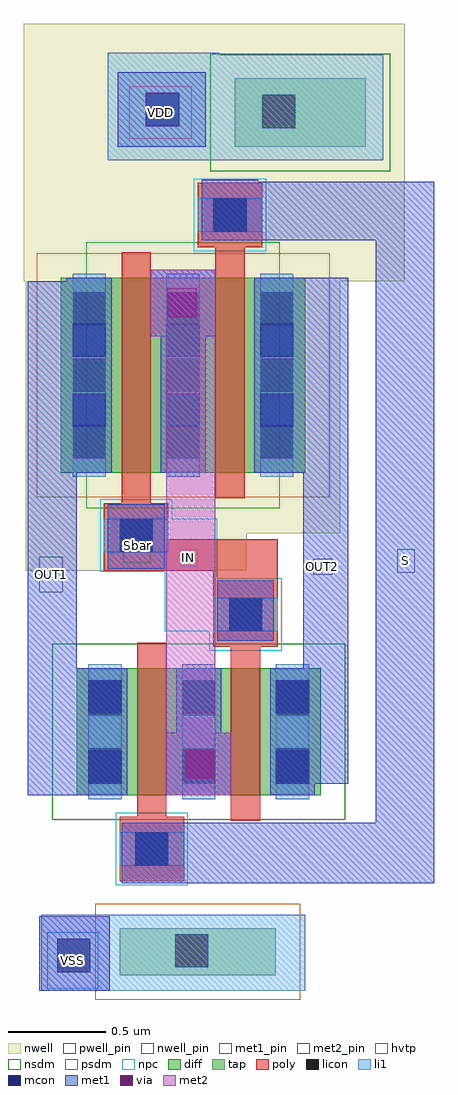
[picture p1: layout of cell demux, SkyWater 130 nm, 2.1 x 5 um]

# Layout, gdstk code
import gdstk
lib = gdstk.Library(unit=1e-6, precision=1e-09)
def R(c, l, rs):  # rectangles x0, y0, x1, y1
    for r in rs: c.add(gdstk.rectangle(r[:2], r[2:], *l))
def A(c, l, x, y, w, h, nx, ny, dx, dy):  # array of equal rectangles
    R(c, l, [(x+i*dx, y+j*dy, x+i*dx+w, y+j*dy+h) for i in range(nx) for j in range(ny)])
nwell_pin = (64, 16)
nwell = (64, 20)
diff = (65, 20)
tap = (65, 44)
poly = (66, 20)
licon = (66, 44)
li1 = (67, 20)
mcon = (67, 44)
met1_pin = (68, 16)
met1 = (68, 20)
via = (68, 44)
met2_pin = (69, 16)
met2 = (69, 20)
hvtp = (78, 44)
nsdm = (93, 44)
psdm = (94, 20)
npc = (95, 20)
pwell_pin = (122, 16)

sky130_fd_pr__pfet_01v8_ = lib.new_cell('sky130_fd_pr__pfet_01v8_hvt_SH6FHF')
R(sky130_fd_pr__pfet_01v8_, nwell, [(-0.805,-1,0.325,-0.81), (-0.805,-0.81,0.805,0.81), (-0.325,0.81,0.805,1)])
R(sky130_fd_pr__pfet_01v8_, diff, [(-0.625,-0.5,0.625,0.5)])
R(sky130_fd_pr__pfet_01v8_, poly, [(-0.405,-0.985,-0.075,-0.655), (-0.315,-0.655,-0.165,0.63), (0.165,-0.63,0.315,0.655), (0.075,0.655,0.405,0.985)])
A(sky130_fd_pr__pfet_01v8_, licon, -0.565, -0.425, 0.17, 0.17, 3, 3, 0.48, 0.34)
R(sky130_fd_pr__pfet_01v8_, licon, [(-0.325,-0.905,-0.155,-0.735), (0.155,0.735,0.325,0.905)])
A(sky130_fd_pr__pfet_01v8_, li1, -0.565, -0.52, 0.17, 1.04, 3, 1, 0.48, 0)
R(sky130_fd_pr__pfet_01v8_, li1, [(-0.405,-0.905,-0.075,-0.735), (0.075,0.735,0.405,0.905)])
A(sky130_fd_pr__pfet_01v8_, mcon, -0.565, -0.265, 0.17, 0.17, 3, 2, 0.48, 0.36)
R(sky130_fd_pr__pfet_01v8_, mcon, [(-0.325,-0.905,-0.155,-0.735), (0.155,0.735,0.325,0.905)])
A(sky130_fd_pr__pfet_01v8_, met1, -0.595, -0.5, 0.23, 1, 3, 1, 0.48, 0)
R(sky130_fd_pr__pfet_01v8_, met1, [(-0.385,-0.935,-0.095,-0.705), (0.095,0.705,0.385,0.935)])
R(sky130_fd_pr__pfet_01v8_, hvtp, [(-0.495,-0.68,0.495,0.68)])
R(sky130_fd_pr__pfet_01v8_, psdm, [(-0.75,-0.625,0.75,0.625)])
R(sky130_fd_pr__pfet_01v8_, npc, [(-0.425,-1.005,-0.055,-0.635), (0.055,0.635,0.425,1.005)])

sky130_fd_pr__nfet_01v8_ = lib.new_cell('sky130_fd_pr__nfet_01v8_PX9ZJG')
R(sky130_fd_pr__nfet_01v8_, diff, [(-0.625,-0.325,0.625,0.325)])
R(sky130_fd_pr__nfet_01v8_, poly, [(-0.405,-0.765,-0.075,-0.435), (0.165,-0.455,0.315,0.435), (-0.315,-0.435,-0.165,0.455), (0.075,0.435,0.405,0.765)])
A(sky130_fd_pr__nfet_01v8_, licon, -0.565, -0.255, 0.17, 0.17, 3, 2, 0.48, 0.34)
R(sky130_fd_pr__nfet_01v8_, licon, [(-0.325,-0.685,-0.155,-0.515), (0.155,0.515,0.325,0.685)])
A(sky130_fd_pr__nfet_01v8_, li1, -0.565, -0.345, 0.17, 0.69, 3, 1, 0.48, 0)
R(sky130_fd_pr__nfet_01v8_, li1, [(-0.405,-0.685,-0.075,-0.515), (0.075,0.515,0.405,0.685)])
A(sky130_fd_pr__nfet_01v8_, mcon, -0.565, -0.265, 0.17, 0.17, 3, 2, 0.48, 0.36)
R(sky130_fd_pr__nfet_01v8_, mcon, [(-0.325,-0.685,-0.155,-0.515), (0.155,0.515,0.325,0.685)])
A(sky130_fd_pr__nfet_01v8_, met1, -0.595, -0.325, 0.23, 0.65, 3, 1, 0.48, 0)
R(sky130_fd_pr__nfet_01v8_, met1, [(-0.385,-0.715,-0.095,-0.485), (0.095,0.485,0.385,0.715)])
R(sky130_fd_pr__nfet_01v8_, nsdm, [(-0.75,-0.45,0.75,0.45)])
R(sky130_fd_pr__nfet_01v8_, npc, [(-0.425,-0.785,-0.055,-0.415), (0.055,0.415,0.425,0.785)])

demux = lib.new_cell('demux')
R(demux, nwell_pin, [(0.27,3.8,0.59,4.07)])
R(demux, nwell, [(-0.27,3.07,1.68,4.39)])
R(demux, tap, [(0.22,-0.48,1.02,-0.24), (0.81,3.76,1.48,4.11)])
R(demux, poly, [(0.7,1.2,1.03,1.59), (0.14,1.59,1.03,1.75)])
R(demux, licon, [(0.505,-0.44,0.675,-0.27), (0.95,3.855,1.12,4.025)])
R(demux, li1, [(-0.18,-0.56,1.17,-0.17), (0.16,3.69,1.57,4.23), (0.16,4.23,0.73,4.24)])
R(demux, mcon, [(-0.1,-0.465,0.07,-0.295), (0.355,3.865,0.525,4.035)])
R(demux, met1_pin, [(-0.19,1.48,-0.07,1.66), (1.21,1.57,1.31,1.65), (1.64,1.58,1.73,1.7), (0.24,1.63,0.38,1.81)])
R(demux, met1, [(-0.19,-0.56,0.17,-0.18), (0.23,-0.01,1.83,0.3), (1.53,0.3,1.83,3.28), (-0.25,0.44,0.26,1.09), (0.46,0.44,0.79,0.76), (1.16,0.5,1.39,2.09), (-0.25,1.09,0,3.07), (0.72,1.23,1.01,1.54), (0.16,1.6,0.45,1.93), (0.94,2.09,1.39,3.09), (0.38,2.79,0.71,3.13), (0.64,3.28,1.83,3.58), (0.64,3.58,0.93,3.59), (0.21,3.76,0.66,4.14)])
R(demux, via, [(0.555,0.525,0.705,0.675), (0.465,2.885,0.615,3.035)])
R(demux, met2_pin, [(0.53,1.61,0.62,1.7)])
R(demux, met2, [(0.46,0.44,0.79,0.76), (0.46,0.76,0.71,2.79), (0.38,2.79,0.71,3.13)])
R(demux, nsdm, [(0.685,3.635,1.605,4.235)])
R(demux, psdm, [(0.095,-0.605,1.145,-0.115)])
R(demux, npc, [(0.45,1.28,0.68,1.55), (0.45,1.55,0.72,1.585), (0.49,1.585,0.72,1.855)])
R(demux, pwell_pin, [(-0.15,-0.55,0.11,-0.26)])
demux.add(gdstk.Reference(sky130_fd_pr__pfet_01v8_, (0.545,2.59)))
demux.add(gdstk.Reference(sky130_fd_pr__nfet_01v8_, (0.625,0.765)))
demux.add(gdstk.Label('OUT1', (-0.13,1.57), layer=68, texttype=16))
demux.add(gdstk.Label('OUT2', (1.26,1.61), layer=68, texttype=16))
demux.add(gdstk.Label('IN', (0.575,1.655), layer=69, texttype=16))
demux.add(gdstk.Label('VDD', (0.43,3.935), layer=64, texttype=16))
demux.add(gdstk.Label('VSS', (-0.02,-0.405), layer=122, texttype=16))
demux.add(gdstk.Label('S', (1.685,1.64), layer=68, texttype=16))
demux.add(gdstk.Label('Sbar', (0.31,1.72), layer=68, texttype=16))

lib.write_gds('demux.gds')
